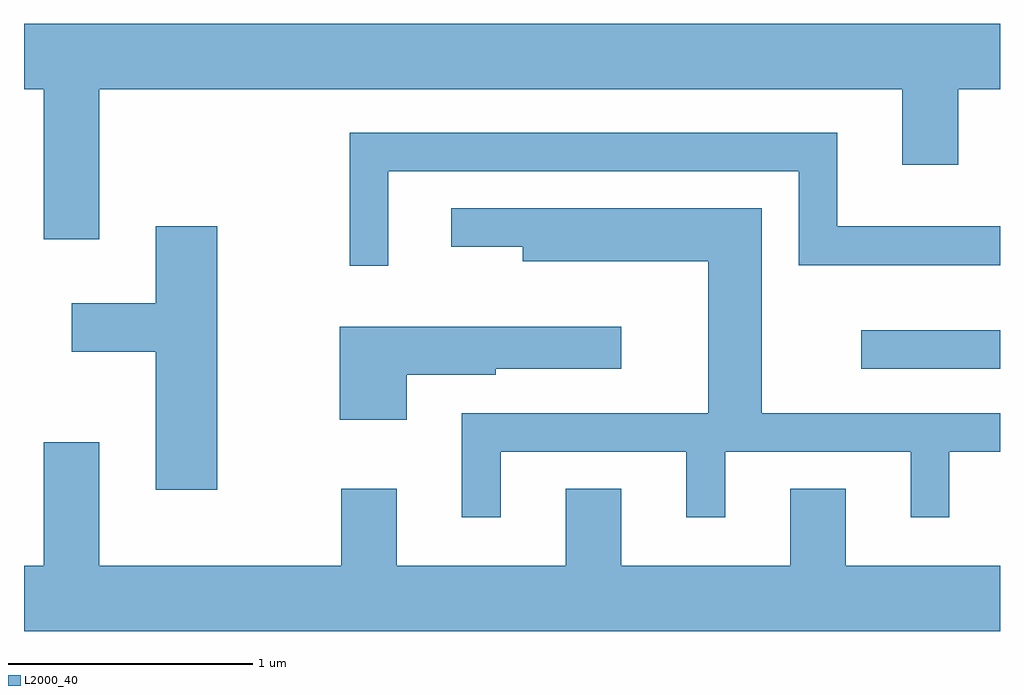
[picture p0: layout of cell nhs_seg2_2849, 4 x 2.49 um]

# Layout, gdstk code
import gdstk
lib = gdstk.Library(unit=1e-6, precision=1e-09)
def R(c, l, rs):  # rectangles x0, y0, x1, y1
    for r in rs: c.add(gdstk.rectangle(r[:2], r[2:], *l))
def P(c, l, *ps):  # polygons
    for p in ps: c.add(gdstk.Polygon(p, *l))
L2000_40 = (2000, 40)

nhs_seg2_2849 = lib.new_cell('nhs_seg2_2849')
R(nhs_seg2_2849, L2000_40, [(271.043,1113.771,271.611,1113.929)])
P(nhs_seg2_2849, L2000_40, [(267.919,1114.916),(271.211,1114.916),(271.211,1114.606),(271.439,1114.606),(271.439,1114.916),(271.611,1114.916),(271.611,1115.184),(267.611,1115.184),(267.611,1114.916),(267.691,1114.916),(267.691,1114.301),(267.919,1114.301)],
  [(269.104,1114.581),(270.786,1114.581),(270.786,1114.196),(271.611,1114.196),(271.611,1114.354),(270.944,1114.354),(270.944,1114.739),(268.946,1114.739),(268.946,1114.193),(269.104,1114.193)],
  [(269.564,1113.431),(270.326,1113.431),(270.326,1113.163),(270.484,1113.163),(270.484,1113.431),(271.246,1113.431),(271.246,1113.163),(271.404,1113.163),(271.404,1113.431),(271.611,1113.431),(271.611,1113.589),(270.634,1113.589),(270.634,1114.429),(269.363,1114.429),(269.363,1114.271),(269.656,1114.271),(269.656,1114.211),(270.416,1114.211),(270.416,1113.589),(269.406,1113.589),(269.406,1113.163),(269.564,1113.163)],
  [(268.404,1114.354),(268.151,1114.354),(268.151,1114.039),(267.806,1114.039),(267.806,1113.841),(268.151,1113.841),(268.151,1113.276),(268.404,1113.276)],
  [(269.179,1113.746),(269.544,1113.746),(269.544,1113.771),(270.059,1113.771),(270.059,1113.944),(268.906,1113.944),(268.906,1113.561),(269.179,1113.561)],
  [(271.611,1112.964),(270.979,1112.964),(270.979,1113.279),(270.751,1113.279),(270.751,1112.964),(270.059,1112.964),(270.059,1113.279),(269.831,1113.279),(269.831,1112.964),(269.139,1112.964),(269.139,1113.279),(268.911,1113.279),(268.911,1112.964),(267.919,1112.964),(267.919,1113.469),(267.691,1113.469),(267.691,1112.964),(267.611,1112.964),(267.611,1112.696),(271.611,1112.696)])

lib.write_gds('nhs_seg2_2849.gds')
